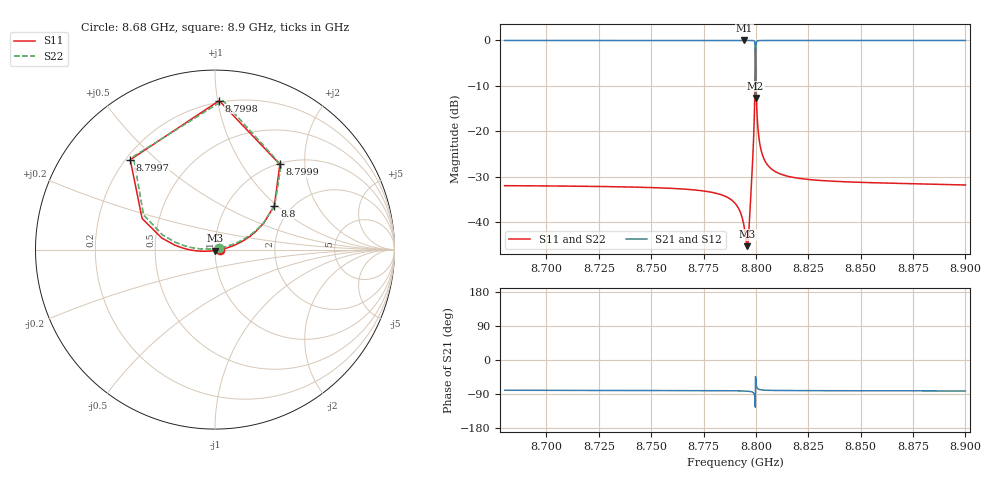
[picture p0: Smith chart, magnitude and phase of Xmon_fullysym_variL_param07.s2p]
! Sonnet Data File
! From: emgraph Version : 16.52
! From Project: 171117_Xmon_fullysym
! Data is De-embedded
! Data File Written: 11/26/2017 17:14:23
!< HDATE 11/22/2017 16:48:52
!< MDATE 11/23/2017 10:16:42
!< PARAMS
!< Lj = 11.0
!< Gap = 1.0
!< Pwid = 2000.0
!< Airgap = 6.0
!< Width = 10.0
!< Lj1 = 10.3
!< END PARAMS
# GHZ S MA R 50.90000
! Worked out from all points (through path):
!   2201 points, 8.68 GHz to 8.9 GHz, reference 50.9 ohm
!   highest |S21| = 0.00 dB at 8.7944 GHz (marker M1); lowest = -12.7 dB at 8.7998 GHz (marker M2)
!   lowest |S11| = -45.3 dB at 8.7959 GHz (marker M3), VSWR 1.01, Z = 51 - j0.549 ohm
!   |S11| at or under -10 dB: start of sweep to 8.7995 GHz; 8.8001 GHz to end of sweep
!   |S22| runs from -44.9 to -1.6 dB; largest |S21 - S12| = 2.6e-10
!   S11 on the Smith chart (normalised r, x): 8.68 GHz: 1.05, -0.00; 8.7997 GHz: 0.22, +0.41; 8.7998 GHz: 0.19, +1.01; 8.7999 GHz: 1.02, +1.50; 8.8 GHz: 1.63, +0.97; 8.9 GHz: 1.05, -0.00
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8.68  0.02515 -1.5  0.9997 -79.8  0.9997 -79.8  0.02515 21.9
!< P1 F=8.68 Eeff=(6.44843488 -2.9797e-5) Z0=(50.9086135 1.17022e-4) R=0.0 C=0.0
!< P2 F=8.68 Eeff=(6.44843488 -2.9797e-5) Z0=(50.9086135 1.17022e-4) R=0.0 C=0.0
8.7167  0.02478 -2.1  0.9997 -80.1  0.9997 -80.1  0.02478 21.8
8.7534  0.02382 -3.1  0.9997 -80.5  0.9997 -80.5  0.02382 22.1
8.7792  0.02118 -5.3  0.9998 -80.9  0.9998 -80.9  0.02119 23.4
8.79  0.01612 -10.6  0.9998 -81.3  0.9998 -81.3  0.01613 28.0
8.7944  0.008817 -29.5  0.9999 -81.9  0.9999 -81.9  0.008899 46.4
8.7959  0.00542 -83.1  0.9999 -82.3  0.9999 -82.3  0.005665 98.5
8.7972  0.01395 -150.1  0.9996 -83.0  0.9996 -83.0  0.01417 162.0
8.7982  0.0373 -166.2  0.9986 -84.4  0.9986 -84.4  0.03752 175.2
8.799  0.1001 -175.8  0.992 -88.0  0.992 -88.0  0.1004 176.4
8.7997  0.6882 133.3  0.5833 -124.4  0.5833 -124.4  0.6897 131.3
8.7998  0.83 88.4  0.2322 -43.8  0.2322 -43.8  0.8317 87.0
8.7999  0.5968 52.7  0.7193 -46.1  0.7193 -46.1  0.5979 51.9
8.8  0.412 36.6  0.8792 -58.0  0.8792 -58.0  0.4127 36.4
8.8009  0.112 12.8  0.9923 -75.9  0.9923 -75.9  0.1122 16.9
8.8014  0.08554 10.1  0.9956 -77.4  0.9956 -77.4  0.08563 16.0
8.8022  0.06578 7.7  0.9975 -78.6  0.9975 -78.6  0.06584 15.8
8.8054  0.04293 3.5  0.999 -79.9  0.999 -79.9  0.04294 16.8
8.8125  0.03327 0.7  0.9994 -80.5  0.9994 -80.5  0.03327 18.3
8.8267  0.02919 -1.1  0.9996 -80.9  0.9996 -80.9  0.02919 19.3
8.8634  0.02681 -2.6  0.9996 -81.4  0.9996 -81.4  0.02681 19.9
8.9  0.02558 -3.7  0.9997 -81.8  0.9997 -81.8  0.02558 20.1
